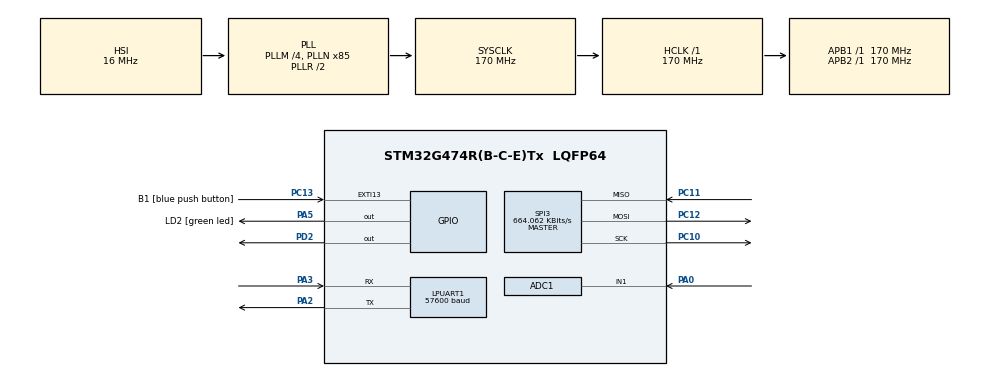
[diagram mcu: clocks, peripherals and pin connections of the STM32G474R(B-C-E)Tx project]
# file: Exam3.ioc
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ADC1.Channel-0\#ChannelRegularConversion=ADC_CHANNEL_1
ADC1.NbrOfConversionFlag=1
ADC1.OffsetNumber-0\#ChannelRegularConversion=ADC_OFFSET_NONE
ADC1.Rank-0\#ChannelRegularConversion=1
ADC1.SamplingTime-0\#ChannelRegularConversion=ADC_SAMPLETIME_2CYCLES_5
ADC1.master=1
LPUART1.BaudRate=57600
Mcu.Family=STM32G4
Mcu.Name=STM32G474R(B-C-E)Tx
Mcu.Package=LQFP64
NVIC.EXTI15_10_IRQn=true\:0\:0\:false\:false\:true\:true\:true\:true
NVIC.PriorityGroup=NVIC_PRIORITYGROUP_4
NVIC.SPI3_IRQn=true\:0\:0\:false\:false\:true\:true\:true\:true
PA0.Mode=IN1-Single-Ended
PA0.Signal=ADC1_IN1
PA13.GPIO_Label=T_SWDIO
PA13.Mode=Serial_Wire
PA13.Signal=SYS_JTMS-SWDIO
PA14.GPIO_Label=T_SWCLK
PA14.Mode=Serial_Wire
PA14.Signal=SYS_JTCK-SWCLK
PA2.Mode=Asynchronous
PA2.Signal=LPUART1_TX
PA3.Mode=Asynchronous
PA3.Signal=LPUART1_RX
PA5.GPIO_Label=LD2 [green led]
PA5.Signal=GPIO_Output
PB3.GPIO_Label=T_SWO
PB3.Signal=SYS_JTDO-SWO
PC10.Mode=Full_Duplex_Master
PC10.Signal=SPI3_SCK
PC11.Mode=Full_Duplex_Master
PC11.Signal=SPI3_MISO
PC12.Mode=Full_Duplex_Master
PC12.Signal=SPI3_MOSI
PC13.GPIO_Label=B1 [blue push button]
PC13.Signal=GPXTI13
PC14-OSC32_IN.Mode=LSE-External-Oscillator
PC14-OSC32_IN.Signal=RCC_OSC32_IN
PC15-OSC32_OUT.Mode=LSE-External-Oscillator
PC15-OSC32_OUT.Signal=RCC_OSC32_OUT
PD2.PinState=GPIO_PIN_SET
PD2.Signal=GPIO_Output
PF0-OSC_IN.Mode=HSE-External-Oscillator
PF0-OSC_IN.Signal=RCC_OSC_IN
PF1-OSC_OUT.Mode=HSE-External-Oscillator
PF1-OSC_OUT.Signal=RCC_OSC_OUT
ProjectManager.HeapSize=0x200
ProjectManager.StackSize=0x400
ProjectManager.TargetToolchain=STM32CubeIDE
RCC.ADC12Freq_Value=170000000
RCC.ADC345Freq_Value=170000000
RCC.AHBFreq_Value=170000000
RCC.APB1Freq_Value=170000000
RCC.APB1TimFreq_Value=170000000
RCC.APB2Freq_Value=170000000
RCC.APB2TimFreq_Value=170000000
RCC.CortexFreq_Value=170000000
RCC.EXTERNAL_CLOCK_VALUE=12288000
RCC.HCLKFreq_Value=170000000
RCC.HSE_VALUE=24000000
RCC.HSI48_VALUE=48000000
RCC.HSI_VALUE=16000000
RCC.PLLM=RCC_PLLM_DIV4
RCC.PLLN=85
RCC.RTCClockSelection=RCC_RTCCLKSOURCE_LSE
RCC.SYSCLKFreq_VALUE=170000000
RCC.SYSCLKSource=RCC_SYSCLKSOURCE_PLLCLK
RCC.USBFreq_Value=170000000
RCC.VCOOutputFreq_Value=340000000
SPI3.BaudRatePrescaler=SPI_BAUDRATEPRESCALER_256
SPI3.CalculateBaudRate=664.062 KBits/s
SPI3.DataSize=SPI_DATASIZE_8BIT
SPI3.Direction=SPI_DIRECTION_2LINES
SPI3.Mode=SPI_MODE_MASTER
SPI3.VirtualType=VM_MASTER
VP_SYS_VS_DBSignals.Mode=DisableDeadBatterySignals
board=NUCLEO-G474RE

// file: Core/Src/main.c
/* USER CODE BEGIN Header */
/**
  ******************************************************************************
  * @file           : main.c
  * @brief          : Main program body
  ******************************************************************************
  * @attention
  *
  * Copyright (c) 2024 STMicroelectronics.
  * All rights reserved.
  *
  * This software is licensed under terms that can be found in the LICENSE file
  * in the root directory of this software component.
  * If no LICENSE file comes with this software, it is provided AS-IS.
  *
  ******************************************************************************
  */
/* USER CODE END Header */
#include "main.h"

/* USER CODE BEGIN Includes */
#include "stdio.h"
/* USER CODE END Includes */

ADC_HandleTypeDef hadc1;

UART_HandleTypeDef hlpuart1;

SPI_HandleTypeDef hspi3;

/* USER CODE BEGIN PV */
// Game variable
uint8_t magazine = 0;
uint8_t magcap = 0;
uint8_t playerstat = 1;
uint8_t p1HP = 4;
uint8_t p2HP = 4;

uint8_t SPITx[10];
uint8_t SPIRx[10];

/* USER CODE END PV */

void SystemClock_Config(void);
static void MX_GPIO_Init(void);
static void MX_SPI3_Init(void);
static void MX_ADC1_Init(void);
static void MX_LPUART1_UART_Init(void);
/* USER CODE BEGIN PFP */
void SPITxRx_Setup();
void Write_LED_SPI(uint8_t ledTable);
uint8_t Read_Val();
void SPITxRx_readIO();

// Game Function
void reload();
void shoot();
uint8_t makeLEDTable();

/* USER CODE END PFP */

int main(void)
{

  /* MCU Configuration--------------------------------------------------------*/

  /* Reset of all peripherals, Initializes the Flash interface and the Systick. */
  HAL_Init();

  /* Configure the system clock */
  SystemClock_Config();

  /* Initialize all configured peripherals */
  MX_GPIO_Init();
  MX_SPI3_Init();
  MX_ADC1_Init();
  MX_LPUART1_UART_Init();
  /* USER CODE BEGIN 2 */

  SPITxRx_Setup();

  reload();

  Write_LED_SPI(makeLEDTable(p2HP,p1HP));

  /* USER CODE END 2 */

  /* Infinite loop */
  while (1)
  {

    /* USER CODE BEGIN 3 */
	  while(magcap > 0){
		  shoot();

		  Write_LED_SPI(makeLEDTable(p2HP,p1HP));

		  if(p1HP <= 0){
			  uint8_t txt1[] = "Player 2 survived.";
			  HAL_UART_Transmit(&hlpuart1, txt1, 18, 100);
			  while(1){}

		  }
		  if(p2HP <= 0){
			  uint8_t txt2[] = "Player 1 survived.";
			  HAL_UART_Transmit(&hlpuart1, txt2, 18, 100);
			  while(1){}
		  }
	  }
	  reload();
  }
  /* USER CODE END 3 */
}

void SystemClock_Config(void)
{
  RCC_OscInitTypeDef RCC_OscInitStruct = {0};
  RCC_ClkInitTypeDef RCC_ClkInitStruct = {0};

  /** Configure the main internal regulator output voltage
  */
  HAL_PWREx_ControlVoltageScaling(PWR_REGULATOR_VOLTAGE_SCALE1_BOOST);

  /** Initializes the RCC Oscillators according to the specified parameters
  * in the RCC_OscInitTypeDef structure.
  */
  RCC_OscInitStruct.OscillatorType = RCC_OSCILLATORTYPE_HSI;
  RCC_OscInitStruct.HSIState = RCC_HSI_ON;
  RCC_OscInitStruct.HSICalibrationValue = RCC_HSICALIBRATION_DEFAULT;
  RCC_OscInitStruct.PLL.PLLState = RCC_PLL_ON;
  RCC_OscInitStruct.PLL.PLLSource = RCC_PLLSOURCE_HSI;
  RCC_OscInitStruct.PLL.PLLM = RCC_PLLM_DIV4;
  RCC_OscInitStruct.PLL.PLLN = 85;
  RCC_OscInitStruct.PLL.PLLP = RCC_PLLP_DIV2;
  RCC_OscInitStruct.PLL.PLLQ = RCC_PLLQ_DIV2;
  RCC_OscInitStruct.PLL.PLLR = RCC_PLLR_DIV2;
  if (HAL_RCC_OscConfig(&RCC_OscInitStruct) != HAL_OK)
  {
    Error_Handler();
  }

  /** Initializes the CPU, AHB and APB buses clocks
  */
  RCC_ClkInitStruct.ClockType = RCC_CLOCKTYPE_HCLK|RCC_CLOCKTYPE_SYSCLK
                              |RCC_CLOCKTYPE_PCLK1|RCC_CLOCKTYPE_PCLK2;
  RCC_ClkInitStruct.SYSCLKSource = RCC_SYSCLKSOURCE_PLLCLK;
  RCC_ClkInitStruct.AHBCLKDivider = RCC_SYSCLK_DIV1;
  RCC_ClkInitStruct.APB1CLKDivider = RCC_HCLK_DIV1;
  RCC_ClkInitStruct.APB2CLKDivider = RCC_HCLK_DIV1;

  if (HAL_RCC_ClockConfig(&RCC_ClkInitStruct, FLASH_LATENCY_4) != HAL_OK)
  {
    Error_Handler();
  }
}

static void MX_ADC1_Init(void)
{

  ADC_MultiModeTypeDef multimode = {0};
  ADC_ChannelConfTypeDef sConfig = {0};

  /** Common config
  */
  hadc1.Instance = ADC1;
  hadc1.Init.ClockPrescaler = ADC_CLOCK_SYNC_PCLK_DIV4;
  hadc1.Init.Resolution = ADC_RESOLUTION_12B;
  hadc1.Init.DataAlign = ADC_DATAALIGN_RIGHT;
  hadc1.Init.GainCompensation = 0;
  hadc1.Init.ScanConvMode = ADC_SCAN_DISABLE;
  hadc1.Init.EOCSelection = ADC_EOC_SINGLE_CONV;
  hadc1.Init.LowPowerAutoWait = DISABLE;
  hadc1.Init.ContinuousConvMode = DISABLE;
  hadc1.Init.NbrOfConversion = 1;
  hadc1.Init.DiscontinuousConvMode = DISABLE;
  hadc1.Init.ExternalTrigConv = ADC_SOFTWARE_START;
  hadc1.Init.ExternalTrigConvEdge = ADC_EXTERNALTRIGCONVEDGE_NONE;
  hadc1.Init.DMAContinuousRequests = DISABLE;
  hadc1.Init.Overrun = ADC_OVR_DATA_PRESERVED;
  hadc1.Init.OversamplingMode = DISABLE;
  if (HAL_ADC_Init(&hadc1) != HAL_OK)
  {
    Error_Handler();
  }

  /** Configure the ADC multi-mode
  */
  multimode.Mode = ADC_MODE_INDEPENDENT;
  if (HAL_ADCEx_MultiModeConfigChannel(&hadc1, &multimode) != HAL_OK)
  {
    Error_Handler();
  }

  /** Configure Regular Channel
  */
  sConfig.Channel = ADC_CHANNEL_1;
  sConfig.Rank = ADC_REGULAR_RANK_1;
  sConfig.SamplingTime = ADC_SAMPLETIME_2CYCLES_5;
  sConfig.SingleDiff = ADC_SINGLE_ENDED;
  sConfig.OffsetNumber = ADC_OFFSET_NONE;
  sConfig.Offset = 0;
  if (HAL_ADC_ConfigChannel(&hadc1, &sConfig) != HAL_OK)
  {
    Error_Handler();
  }

}

static void MX_LPUART1_UART_Init(void)
{

  hlpuart1.Instance = LPUART1;
  hlpuart1.Init.BaudRate = 57600;
  hlpuart1.Init.WordLength = UART_WORDLENGTH_8B;
  hlpuart1.Init.StopBits = UART_STOPBITS_1;
  hlpuart1.Init.Parity = UART_PARITY_NONE;
  hlpuart1.Init.Mode = UART_MODE_TX_RX;
  hlpuart1.Init.HwFlowCtl = UART_HWCONTROL_NONE;
  hlpuart1.Init.OneBitSampling = UART_ONE_BIT_SAMPLE_DISABLE;
  hlpuart1.Init.ClockPrescaler = UART_PRESCALER_DIV1;
  hlpuart1.AdvancedInit.AdvFeatureInit = UART_ADVFEATURE_NO_INIT;
  if (HAL_UART_Init(&hlpuart1) != HAL_OK)
  {
    Error_Handler();
  }
  if (HAL_UARTEx_SetTxFifoThreshold(&hlpuart1, UART_TXFIFO_THRESHOLD_1_8) != HAL_OK)
  {
    Error_Handler();
  }
  if (HAL_UARTEx_SetRxFifoThreshold(&hlpuart1, UART_RXFIFO_THRESHOLD_1_8) != HAL_OK)
  {
    Error_Handler();
  }
  if (HAL_UARTEx_DisableFifoMode(&hlpuart1) != HAL_OK)
  {
    Error_Handler();
  }

}

static void MX_SPI3_Init(void)
{

  /* SPI3 parameter configuration*/
  hspi3.Instance = SPI3;
  hspi3.Init.Mode = SPI_MODE_MASTER;
  hspi3.Init.Direction = SPI_DIRECTION_2LINES;
  hspi3.Init.DataSize = SPI_DATASIZE_8BIT;
  hspi3.Init.CLKPolarity = SPI_POLARITY_LOW;
  hspi3.Init.CLKPhase = SPI_PHASE_1EDGE;
  hspi3.Init.NSS = SPI_NSS_SOFT;
  hspi3.Init.BaudRatePrescaler = SPI_BAUDRATEPRESCALER_256;
  hspi3.Init.FirstBit = SPI_FIRSTBIT_MSB;
  hspi3.Init.TIMode = SPI_TIMODE_DISABLE;
  hspi3.Init.CRCCalculation = SPI_CRCCALCULATION_DISABLE;
  hspi3.Init.CRCPolynomial = 7;
  hspi3.Init.CRCLength = SPI_CRC_LENGTH_DATASIZE;
  hspi3.Init.NSSPMode = SPI_NSS_PULSE_ENABLE;
  if (HAL_SPI_Init(&hspi3) != HAL_OK)
  {
    Error_Handler();
  }

}

static void MX_GPIO_Init(void)
{
  GPIO_InitTypeDef GPIO_InitStruct = {0};

  /* GPIO Ports Clock Enable */
  __HAL_RCC_GPIOC_CLK_ENABLE();
  __HAL_RCC_GPIOF_CLK_ENABLE();
  __HAL_RCC_GPIOA_CLK_ENABLE();
  __HAL_RCC_GPIOD_CLK_ENABLE();
  __HAL_RCC_GPIOB_CLK_ENABLE();

  /*Configure GPIO pin Output Level */
  HAL_GPIO_WritePin(LD2_GPIO_Port, LD2_Pin, GPIO_PIN_RESET);

  /*Configure GPIO pin Output Level */
  HAL_GPIO_WritePin(GPIOD, GPIO_PIN_2, GPIO_PIN_SET);

  /*Configure GPIO pin : B1_Pin */
  GPIO_InitStruct.Pin = B1_Pin;
  GPIO_InitStruct.Mode = GPIO_MODE_IT_RISING;
  GPIO_InitStruct.Pull = GPIO_NOPULL;
  HAL_GPIO_Init(B1_GPIO_Port, &GPIO_InitStruct);

  /*Configure GPIO pin : LD2_Pin */
  GPIO_InitStruct.Pin = LD2_Pin;
  GPIO_InitStruct.Mode = GPIO_MODE_OUTPUT_PP;
  GPIO_InitStruct.Pull = GPIO_NOPULL;
  GPIO_InitStruct.Speed = GPIO_SPEED_FREQ_LOW;
  HAL_GPIO_Init(LD2_GPIO_Port, &GPIO_InitStruct);

  /*Configure GPIO pin : PD2 */
  GPIO_InitStruct.Pin = GPIO_PIN_2;
  GPIO_InitStruct.Mode = GPIO_MODE_OUTPUT_PP;
  GPIO_InitStruct.Pull = GPIO_NOPULL;
  GPIO_InitStruct.Speed = GPIO_SPEED_FREQ_LOW;
  HAL_GPIO_Init(GPIOD, &GPIO_InitStruct);

  /* EXTI interrupt init*/
  HAL_NVIC_SetPriority(EXTI15_10_IRQn, 0, 0);
  HAL_NVIC_EnableIRQ(EXTI15_10_IRQn);

}

/* USER CODE BEGIN 4 */
void SPITxRx_Setup(){
	uint8_t buffer[4];

	HAL_GPIO_WritePin(GPIOD, GPIO_PIN_2, 0);
	HAL_Delay(1);
	HAL_GPIO_WritePin(GPIOD, GPIO_PIN_2, 1);
	HAL_Delay(1);

	HAL_Delay(200);
	SPITx[0] = 0b01000000;
	SPITx[1] = 0x01;
	SPITx[2] = 0x00;
	SPITx[3] = 0x00;
	SPITx[4] = 0x00;
	SPITxRx_readIO();
	HAL_Delay(200);
//	buffer[0] = 0b01000000;
//	buffer[1] = 0x0D;
//	buffer[2] = 0xFF;
//	buffer[3] = 0x00;
//	buffer[4] = 0x00;
//	HAL_SPI_Transmit(&hspi3, buffer, 4, 100);
//	HAL_Delay(200);
}

void Write_LED_SPI(uint8_t ledTable){

	SPITx[0] = 0b01000000;
	SPITx[1] = 0x15;
	SPITx[2] = ledTable;
	SPITx[3] = 0x00;
	SPITx[4] = 0x00;
	SPITxRx_readIO();

	HAL_Delay(100);

//	HAL_GPIO_WritePin(GPIOD, GPIO_PIN_2,GPIO_PIN_RESET);
//	HAL_SPI_Transmit(&hspi3, buffer, 4, 100);
//	HAL_GPIO_WritePin(GPIOD, GPIO_PIN_2, GPIO_PIN_SET);

}

uint8_t Read_Val(){

	uint8_t RxBuff = 0;
	while(1){
		HAL_UART_Receive(&hlpuart1, &RxBuff, 1, 60000);
		if (RxBuff == '1'){
			return 1;
		}
		else if (RxBuff == '2'){
			return 2;
		}
		uint8_t TXBuffer[100] = "";
		sprintf((char*)TXBuffer, "Invalid input. Try again.\r\n");
		HAL_UART_Transmit(&hlpuart1, TXBuffer, 27, 100);
	}
}

void reload(){
	HAL_ADC_Start(&hadc1);
	HAL_ADC_PollForConversion(&hadc1, 1000);
	magazine = HAL_ADC_GetValue(&hadc1) % 64;
	HAL_ADC_Stop(&hadc1);

	magcap = 6;
	uint8_t liveRound = 0;

	uint8_t buffMagazine = magazine;

	for (int i = 0; i < 6; i++){
		if(buffMagazine & 0x01){
			liveRound++;
		}
		buffMagazine = buffMagazine >> 1;
	}

	uint8_t TXBuffer[100] = {};
	sprintf((char*)TXBuffer, "\nNew round. There are %u live round(s) out of 6 chambers.\r\n", liveRound);
	HAL_UART_Transmit(&hlpuart1, TXBuffer, 58, 100);

}

void shoot(){

	uint8_t TXBuffer[100] = {};
	sprintf((char*)TXBuffer, "Player%u's turn, choose your target.\r\n", playerstat);
	HAL_UART_Transmit(&hlpuart1, TXBuffer, 37, 100);

    // Get target from user
    playerstat = Read_Val();

    sprintf((char*)TXBuffer, "Aim at player%u.\r\n", playerstat);
    HAL_UART_Transmit(&hlpuart1, TXBuffer, 17, 100);

    // Check ammo
    if (magazine & 0x01){
    	sprintf((char*)TXBuffer, "The chamber have live round. Player%u is shot.\r\n\r\n", playerstat);
    	HAL_UART_Transmit(&hlpuart1, TXBuffer, 49, 100);

    	// Deal damage
        if (playerstat - 1){
            p2HP--;
        }
        else{
            p1HP--;
        }
    }
        else{
            printf("The chamber is empty.\n");
            sprintf((char*)TXBuffer, "Fortunately, the chamber is empty.\r\n\r\n");
            HAL_UART_Transmit(&hlpuart1, TXBuffer, 38, 100);
        }
        magcap--;
        magazine = magazine >> 1;

}

uint8_t makeLEDTable(int a, int b){

	    uint8_t buff = 0;

		for(int i = 0; i < a; i++){
			buff = buff | (0x01 << i);
		}

		for(int i = 0; i < b; i++){
			buff = buff | (0x80 >> i);
		}

		return ~buff;
}

void SPITxRx_readIO(){
	if(HAL_GPIO_ReadPin(GPIOD, GPIO_PIN_2)){
		HAL_GPIO_WritePin(GPIOD, GPIO_PIN_2,0);
		HAL_SPI_TransmitReceive_IT(&hspi3, SPITx, SPIRx, 5);
	}
}

void HAL_SPI_TxRxCpltCallback(SPI_HandleTypeDef *hspi){
	HAL_GPIO_WritePin(GPIOD, GPIO_PIN_2, 1);
}

/* USER CODE END 4 */

void Error_Handler(void)
{
  __disable_irq();
  while (1)
  {
  }
}
